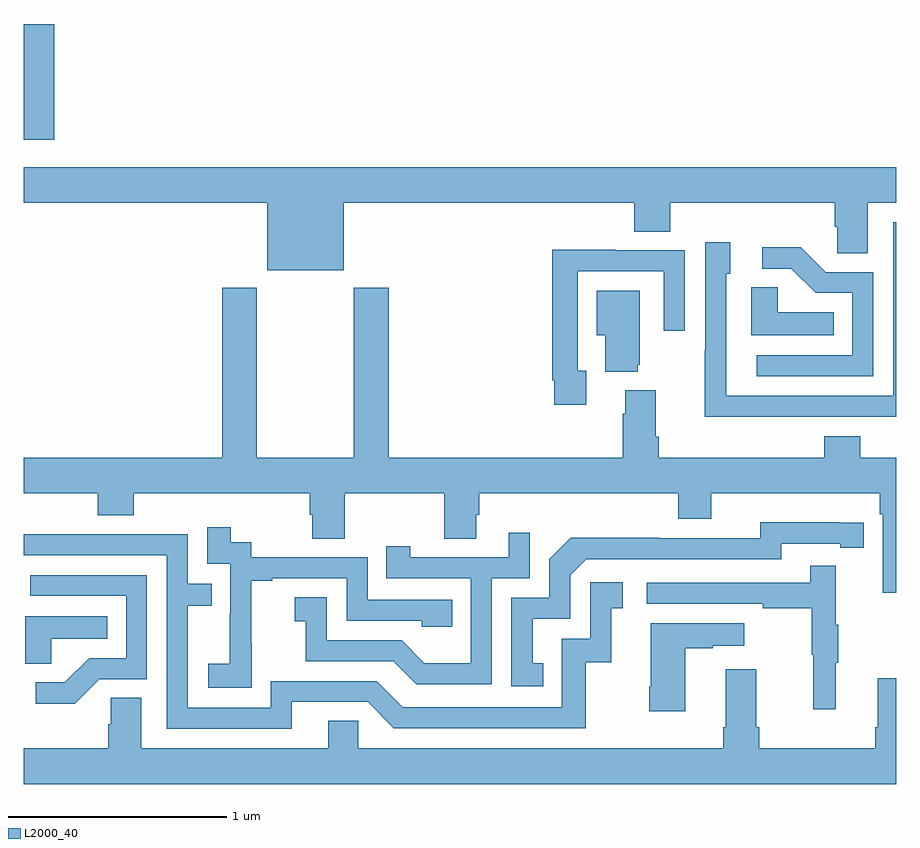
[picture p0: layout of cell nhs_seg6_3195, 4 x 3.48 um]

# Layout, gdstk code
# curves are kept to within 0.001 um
import gdstk
lib = gdstk.Library(unit=1e-6, precision=1e-09)
def R(c, l, rs):  # rectangles x0, y0, x1, y1
    for r in rs: c.add(gdstk.rectangle(r[:2], r[2:], *l))
def P(c, l, *ps):  # polygons
    for p in ps: c.add(gdstk.Polygon(p, *l))
L2000_40 = (2000, 40)

nhs_seg6_3195 = lib.new_cell('nhs_seg6_3195')
R(nhs_seg6_3195, L2000_40, [(299,936.969,299.141,937.5)])
P(nhs_seg6_3195, L2000_40, [(300.466,936.68),(301.799,936.68),(301.799,936.547),(301.964,936.547),(301.964,936.68),(302.717,936.68),(302.717,936.571),(302.73,936.571),(302.73,936.448),(302.869,936.448),(302.869,936.68),(303,936.68),(303,936.844),(299,936.844),(299,936.68),(300.116,936.68),(300.116,936.371),(300.466,936.371)],
  [(302.585,935.7),(303,935.7),(303,936.591),(302.985,936.591),(302.985,935.796),(302.22,935.796),(302.22,936.354),(302.239,936.354),(302.239,936.499),(302.124,936.499),(302.124,936.005),(302.122,936.005),(302.122,935.699),(302.585,935.699)],
  [(302.895,936.363),(302.676,936.363),(302.563,936.476),(302.385,936.476),(302.385,936.378),(302.519,936.378),(302.63,936.267),(302.799,936.267),(302.799,935.982),(302.361,935.982),(302.361,935.886),(302.895,935.886)],
  [(301.579,935.91),(301.539,935.91),(301.539,936.366),(301.935,936.366),(301.935,936.093),(302.031,936.093),(302.031,936.462),(301.715,936.462),(301.715,936.464),(301.423,936.464),(301.423,935.866),(301.431,935.866),(301.431,935.754),(301.579,935.754)],
  [(302.714,936.178),(302.457,936.178),(302.457,936.293),(302.336,936.293),(302.336,936.074),(302.714,936.074)],
  [(303,935.512),(302.834,935.512),(302.834,935.611),(302.669,935.611),(302.669,935.512),(301.91,935.512),(301.91,935.608),(301.897,935.608),(301.897,935.821),(301.757,935.821),(301.757,935.714),(301.745,935.714),(301.745,935.512),(300.674,935.512),(300.674,936.292),(300.514,936.292),(300.514,935.512),(300.069,935.512),(300.069,936.292),(299.909,936.292),(299.909,935.512),(299,935.512),(299,935.348),(299.339,935.348),(299.339,935.249),(299.504,935.249),(299.504,935.348),(300.311,935.348),(300.311,935.25),(300.323,935.25),(300.323,935.14),(300.471,935.14),(300.471,935.348),(300.928,935.348),(300.928,935.14),(301.075,935.14),(301.075,935.25),(301.088,935.25),(301.088,935.348),(302,935.348),(302,935.231),(302.152,935.231),(302.152,935.348),(302.924,935.348),(302.924,935.252),(302.937,935.252),(302.937,934.893),(303,934.893)],
  [(301.814,935.937),(301.825,935.937),(301.825,936.277),(301.628,936.277),(301.628,936.074),(301.667,936.074),(301.667,935.906),(301.814,935.906)],
  [(301.382,934.569),(301.333,934.569),(301.333,934.773),(301.506,934.773),(301.506,934.974),(301.578,935.046),(302.472,935.046),(302.472,935.118),(302.744,935.118),(302.744,935.098),(302.852,935.098),(302.852,935.214),(302.376,935.215),(302.376,935.142),(301.916,935.142),(301.916,935.144),(301.508,935.144),(301.41,935.046),(301.41,934.869),(301.236,934.869),(301.236,934.464),(301.382,934.464)],
  [(300.045,934.663),(300.044,934.663),(300.044,934.947),(300.139,934.947),(300.139,934.959),(300.48,934.959),(300.48,934.764),(300.825,934.764),(300.825,934.737),(300.965,934.737),(300.965,934.86),(300.576,934.86),(300.576,935.055),(300.042,935.055),(300.042,935.124),(299.95,935.124),(299.95,935.194),(299.841,935.194),(299.841,935.025),(299.946,935.025),(299.946,934.796),(299.945,934.796),(299.945,934.567),(299.847,934.567),(299.847,934.457),(300.045,934.457)],
  [(301.146,934.959),(301.32,934.959),(301.32,935.167),(301.223,935.167),(301.223,935.055),(300.772,935.055),(300.772,935.107),(300.661,935.107),(300.661,934.959),(301.05,934.959),(301.05,934.57),(300.836,934.57),(300.732,934.674),(300.39,934.674),(300.39,934.873),(300.243,934.873),(300.243,934.763),(300.292,934.763),(300.292,934.578),(300.695,934.578),(300.8,934.473),(301.146,934.473)],
  [(300.229,934.392),(300.576,934.392),(300.696,934.272),(301.576,934.272),(301.576,934.575),(301.694,934.575),(301.694,934.821),(301.747,934.821),(301.747,934.942),(301.596,934.942),(301.596,934.683),(301.467,934.683),(301.467,934.368),(300.738,934.368),(300.618,934.488),(300.132,934.488),(300.132,934.365),(299.751,934.365),(299.751,934.834),(299.861,934.834),(299.861,934.935),(299.751,934.935),(299.751,935.16),(299.255,935.16),(299.255,935.162),(299,935.162),(299,935.064),(299.655,935.064),(299.655,934.269),(300.229,934.269)],
  [(302.723,934.571),(302.734,934.571),(302.734,934.745),(302.723,934.745),(302.723,935.017),(302.605,935.017),(302.605,934.938),(301.857,934.938),(301.857,934.842),(302.389,934.842),(302.389,934.822),(302.613,934.822),(302.613,934.608),(302.62,934.608),(302.62,934.359),(302.723,934.359)],
  [(299.346,934.497),(299.565,934.497),(299.565,934.974),(299.031,934.974),(299.031,934.878),(299.469,934.878),(299.469,934.593),(299.3,934.593),(299.189,934.482),(299.055,934.482),(299.055,934.385),(299.233,934.385)],
  [(299.127,934.682),(299.384,934.682),(299.384,934.786),(299.006,934.786),(299.006,934.567),(299.127,934.567)],
  [(302.032,934.639),(302.159,934.639),(302.159,934.649),(302.302,934.649),(302.302,934.753),(301.874,934.753),(301.874,934.462),(301.867,934.462),(301.867,934.35),(302.032,934.35)],
  [(303,934.501),(302.915,934.501),(302.915,934.276),(302.903,934.276),(302.903,934.18),(302.372,934.18),(302.372,934.276),(302.359,934.276),(302.359,934.543),(302.219,934.543),(302.219,934.276),(302.207,934.276),(302.207,934.18),(300.534,934.18),(300.534,934.307),(300.395,934.307),(300.395,934.18),(299.539,934.18),(299.539,934.412),(299.4,934.412),(299.4,934.289),(299.387,934.289),(299.387,934.18),(299,934.18),(299,934.016),(303,934.016)])

lib.write_gds('nhs_seg6_3195.gds')
